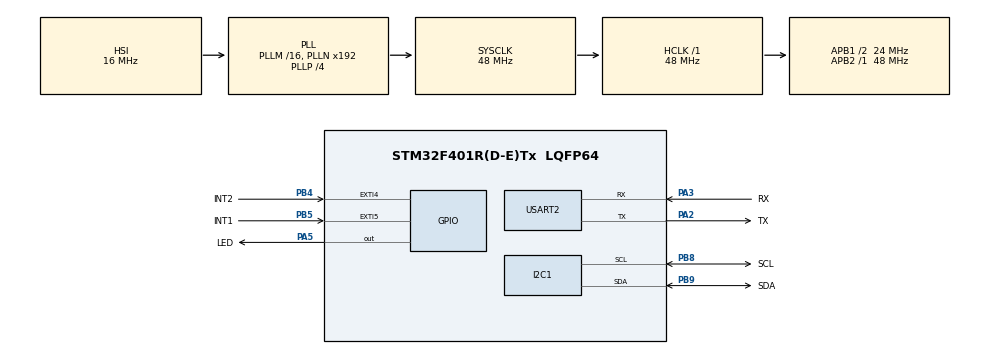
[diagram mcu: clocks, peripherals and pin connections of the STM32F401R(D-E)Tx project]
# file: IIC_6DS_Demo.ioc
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I2C1.I2C_Mode=I2C_Fast
Mcu.Family=STM32F4
Mcu.Name=STM32F401R(D-E)Tx
Mcu.Package=LQFP64
NVIC.EXTI4_IRQn=true\:2\:0\:true\:false\:true\:true
NVIC.EXTI9_5_IRQn=true\:2\:0\:true\:false\:true\:true
NVIC.PriorityGroup=NVIC_PRIORITYGROUP_4
NVIC.USART2_IRQn=true\:3\:0\:true\:false\:true\:true
PA2.GPIO_Label=TX
PA2.Mode=Asynchronous
PA2.Signal=USART2_TX
PA3.GPIO_Label=RX
PA3.Mode=Asynchronous
PA3.Signal=USART2_RX
PA5.GPIO_Label=LED
PA5.Signal=GPIO_Output
PB4.GPIO_Label=INT2
PB4.Signal=GPXTI4
PB5.GPIO_Label=INT1
PB5.Signal=GPXTI5
PB8.GPIO_Label=SCL
PB8.Mode=I2C
PB8.Signal=I2C1_SCL
PB9.GPIO_Label=SDA
PB9.Mode=I2C
PB9.Signal=I2C1_SDA
ProjectManager.HeapSize=0x200
ProjectManager.StackSize=0x400
ProjectManager.TargetToolchain=MDK-ARM V5
RCC.AHBFreq_Value=48000000
RCC.APB1CLKDivider=RCC_HCLK_DIV2
RCC.APB1Freq_Value=24000000
RCC.APB1TimFreq_Value=48000000
RCC.APB2Freq_Value=48000000
RCC.APB2TimFreq_Value=48000000
RCC.CortexFreq_Value=48000000
RCC.HCLKFreq_Value=48000000
RCC.HSE_VALUE=25000000
RCC.HSI_VALUE=16000000
RCC.LSE_VALUE=32768
RCC.PLLP=RCC_PLLP_DIV4
RCC.SYSCLKFreq_VALUE=48000000
RCC.SYSCLKSource=RCC_SYSCLKSOURCE_PLLCLK
RCC.VCOOutputFreq_Value=192000000
USART2.VirtualMode=VM_ASYNC
board=IIC_6DS_Demo

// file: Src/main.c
/**
  ******************************************************************************
  * File Name          : main.c
  * Description        : Main program body
  ******************************************************************************
  ** This notice applies to any and all portions of this file
  * that are not between comment pairs USER CODE BEGIN and
  * USER CODE END. Other portions of this file, whether
  * inserted by the user or by software development tools
  * are owned by their respective copyright owners.
  *
  * COPYRIGHT(c) 2018 STMicroelectronics
  *
  * Redistribution and use in source and binary forms, with or without modification,
  * are permitted provided that the following conditions are met:
  *   1. Redistributions of source code must retain the above copyright notice,
  *      this list of conditions and the following disclaimer.
  *   2. Redistributions in binary form must reproduce the above copyright notice,
  *      this list of conditions and the following disclaimer in the documentation
  *      and/or other materials provided with the distribution.
  *   3. Neither the name of STMicroelectronics nor the names of its contributors
  *      may be used to endorse or promote products derived from this software
  *      without specific prior written permission.
  *
  * THIS SOFTWARE IS PROVIDED BY THE COPYRIGHT HOLDERS AND CONTRIBUTORS "AS IS"
  * AND ANY EXPRESS OR IMPLIED WARRANTIES, INCLUDING, BUT NOT LIMITED TO, THE
  * IMPLIED WARRANTIES OF MERCHANTABILITY AND FITNESS FOR A PARTICULAR PURPOSE ARE
  * DISCLAIMED. IN NO EVENT SHALL THE COPYRIGHT HOLDER OR CONTRIBUTORS BE LIABLE
  * FOR ANY DIRECT, INDIRECT, INCIDENTAL, SPECIAL, EXEMPLARY, OR CONSEQUENTIAL
  * DAMAGES (INCLUDING, BUT NOT LIMITED TO, PROCUREMENT OF SUBSTITUTE GOODS OR
  * SERVICES; LOSS OF USE, DATA, OR PROFITS; OR BUSINESS INTERRUPTION) HOWEVER
  * CAUSED AND ON ANY THEORY OF LIABILITY, WHETHER IN CONTRACT, STRICT LIABILITY,
  * OR TORT (INCLUDING NEGLIGENCE OR OTHERWISE) ARISING IN ANY WAY OUT OF THE USE
  * OF THIS SOFTWARE, EVEN IF ADVISED OF THE POSSIBILITY OF SUCH DAMAGE.
  *
  ******************************************************************************
  */

#include "main.h"
#include "stm32f4xx_hal.h"
#include "i2c.h"
#include "usart.h"
#include "gpio.h"

/* USER CODE BEGIN Includes */
#include "LSM6DSL_ACC_GYRO_data.h"
/* USER CODE END Includes */

/* USER CODE BEGIN PV */
/* Private variables ---------------------------------------------------------*/
//#define ACC_EN
/* USER CODE END PV */

void SystemClock_Config(void);

/* USER CODE BEGIN PFP */
/* Private function prototypes -----------------------------------------------*/

/* USER CODE END PFP */

/* USER CODE BEGIN 0 */
extern I2C_HandleTypeDef hi2c1;
SensorAxes_t GYR_Value;                  /*!< Gyroscope Value */
SensorAxes_t ACC_Value;                  /*!< Acceleration Value */
/* USER CODE END 0 */

int main(void)
{

  /* MCU Configuration----------------------------------------------------------*/

  /* Reset of all peripherals, Initializes the Flash interface and the Systick. */
  HAL_Init();

  /* Configure the system clock */
  SystemClock_Config();

  /* Initialize all configured peripherals */
  MX_GPIO_Init();
  MX_I2C1_Init();
  MX_USART2_UART_Init();

  /* USER CODE BEGIN 2 */
	printf("This is 6DSL Demo \r\n");
  while(! LSM6DSL_Detection(&hi2c1))
  {
	  printf("LSM6DSL Device ID error  \r\n");
		HAL_Delay(200);
	}
   printf("LSM6DSL Device ID OK\r\n");
  #ifdef ACC_EN
	init_LSM6DSL_ACC(&hi2c1);
	#else
	init_LSM6DSL_GYRO(&hi2c1);
	#endif

  /* USER CODE END 2 */

  /* Infinite loop */
  while (1)
  {

  /* USER CODE BEGIN 3 */
  #ifdef ACC_EN
	LSM6DSL_X_Get_Axes(&hi2c1,&ACC_Value);
	printf("/***************************/");
	printf("\r\n");
  printf("LSM6DSL Data X= %d\r\n",ACC_Value.AXIS_X);
	printf("LSM6DSL Data Y= %d\r\n",ACC_Value.AXIS_Y);
	printf("LSM6DSL Data Z= %d\r\n",ACC_Value.AXIS_Z);
	printf("\r\n");
  printf("/***************************/");
	printf("\r\n");	printf("\r\n");	printf("\r\n");
  #else
  LSM6DSL_G_Get_Axes(&hi2c1,&GYR_Value);
	printf("/***************************/");
	printf("\r\n");
  printf("LSM6DSL Data X= %d\r\n",GYR_Value.AXIS_X);
	printf("LSM6DSL Data Y= %d\r\n",GYR_Value.AXIS_Y);
	printf("LSM6DSL Data Z= %d\r\n",GYR_Value.AXIS_Z);
	printf("\r\n");
  printf("/***************************/");
	printf("\r\n");	printf("\r\n");	printf("\r\n");
	#endif

	LED_ON;
	HAL_Delay(200);
	LED_OFF;
	HAL_Delay(200);
  }
  /* USER CODE END 3 */

}

/** System Clock Configuration
*/
void SystemClock_Config(void)
{

  RCC_OscInitTypeDef RCC_OscInitStruct;
  RCC_ClkInitTypeDef RCC_ClkInitStruct;

    /**Configure the main internal regulator output voltage
    */
  __HAL_RCC_PWR_CLK_ENABLE();

  __HAL_PWR_VOLTAGESCALING_CONFIG(PWR_REGULATOR_VOLTAGE_SCALE2);

    /**Initializes the CPU, AHB and APB busses clocks
    */
  RCC_OscInitStruct.OscillatorType = RCC_OSCILLATORTYPE_HSI;
  RCC_OscInitStruct.HSIState = RCC_HSI_ON;
  RCC_OscInitStruct.HSICalibrationValue = 16;
  RCC_OscInitStruct.PLL.PLLState = RCC_PLL_ON;
  RCC_OscInitStruct.PLL.PLLSource = RCC_PLLSOURCE_HSI;
  RCC_OscInitStruct.PLL.PLLM = 16;
  RCC_OscInitStruct.PLL.PLLN = 192;
  RCC_OscInitStruct.PLL.PLLP = RCC_PLLP_DIV4;
  RCC_OscInitStruct.PLL.PLLQ = 4;
  if (HAL_RCC_OscConfig(&RCC_OscInitStruct) != HAL_OK)
  {
    _Error_Handler(__FILE__, __LINE__);
  }

    /**Initializes the CPU, AHB and APB busses clocks
    */
  RCC_ClkInitStruct.ClockType = RCC_CLOCKTYPE_HCLK|RCC_CLOCKTYPE_SYSCLK
                              |RCC_CLOCKTYPE_PCLK1|RCC_CLOCKTYPE_PCLK2;
  RCC_ClkInitStruct.SYSCLKSource = RCC_SYSCLKSOURCE_PLLCLK;
  RCC_ClkInitStruct.AHBCLKDivider = RCC_SYSCLK_DIV1;
  RCC_ClkInitStruct.APB1CLKDivider = RCC_HCLK_DIV2;
  RCC_ClkInitStruct.APB2CLKDivider = RCC_HCLK_DIV1;

  if (HAL_RCC_ClockConfig(&RCC_ClkInitStruct, FLASH_LATENCY_1) != HAL_OK)
  {
    _Error_Handler(__FILE__, __LINE__);
  }

    /**Configure the Systick interrupt time
    */
  HAL_SYSTICK_Config(HAL_RCC_GetHCLKFreq()/1000);

    /**Configure the Systick
    */
  HAL_SYSTICK_CLKSourceConfig(SYSTICK_CLKSOURCE_HCLK);

  /* SysTick_IRQn interrupt configuration */
  HAL_NVIC_SetPriority(SysTick_IRQn, 0, 0);
}

void _Error_Handler(char * file, int line)
{
  while(1)
  {
  }
}

/************************ (C) COPYRIGHT STMicroelectronics *****END OF FILE****/
